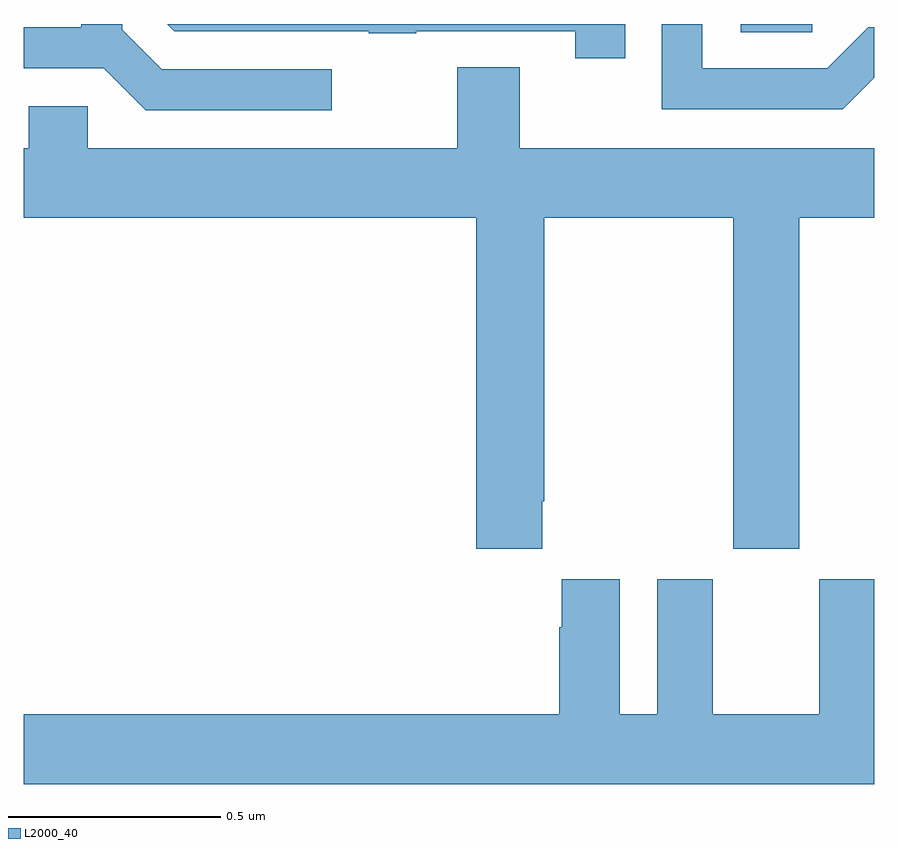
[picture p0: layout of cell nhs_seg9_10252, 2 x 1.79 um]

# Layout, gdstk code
import gdstk
lib = gdstk.Library(unit=1e-6, precision=1e-09)
def R(c, l, rs):  # rectangles x0, y0, x1, y1
    for r in rs: c.add(gdstk.rectangle(r[:2], r[2:], *l))
def P(c, l, *ps):  # polygons
    for p in ps: c.add(gdstk.Polygon(p, *l))
L2000_40 = (2000, 40)

nhs_seg9_10252 = lib.new_cell('nhs_seg9_10252')
R(nhs_seg9_10252, L2000_40, [(241.686,1239.481,241.855,1239.5)])
P(nhs_seg9_10252, L2000_40, [(240.724,1239.393),(240.324,1239.393),(240.231,1239.486),(240.231,1239.5),(240.135,1239.5),(240.135,1239.492),(240,1239.492),(240,1239.396),(240.188,1239.396),(240.287,1239.297),(240.724,1239.297)],
  [(241.415,1239.5),(240.337,1239.5),(240.354,1239.483),(240.811,1239.483),(240.811,1239.478),(240.923,1239.478),(240.923,1239.483),(241.297,1239.483),(241.297,1239.42),(241.415,1239.42)],
  [(242,1239.374),(242,1239.492),(241.986,1239.492),(241.89,1239.396),(241.596,1239.396),(241.596,1239.5),(241.5,1239.5),(241.5,1239.3),(241.926,1239.3)],
  [(241.219,1238.377),(241.224,1238.377),(241.224,1239.044),(241.669,1239.044),(241.669,1238.265),(241.824,1238.265),(241.824,1239.044),(242,1239.044),(242,1239.208),(241.167,1239.208),(241.167,1239.398),(241.019,1239.398),(241.019,1239.208),(240.15,1239.208),(240.15,1239.306),(240.011,1239.306),(240.011,1239.208),(240,1239.208),(240,1239.044),(241.064,1239.044),(241.064,1238.265),(241.219,1238.265)],
  [(242,1238.194),(241.871,1238.194),(241.871,1237.876),(241.621,1237.876),(241.621,1238.194),(241.49,1238.194),(241.49,1237.876),(241.402,1237.876),(241.402,1238.194),(241.265,1238.194),(241.265,1238.081),(241.259,1238.081),(241.259,1237.876),(240,1237.876),(240,1237.712),(242,1237.712)])

lib.write_gds('nhs_seg9_10252.gds')
